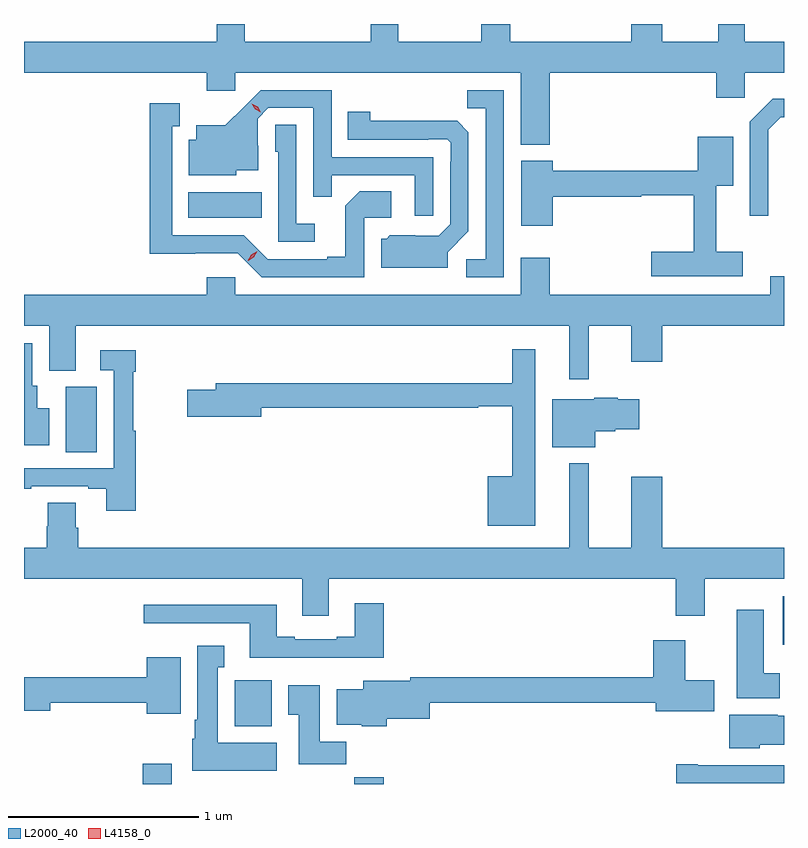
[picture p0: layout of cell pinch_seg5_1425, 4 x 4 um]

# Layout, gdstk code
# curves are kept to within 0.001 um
import gdstk
lib = gdstk.Library(unit=1e-6, precision=1e-09)
def R(c, l, rs):  # rectangles x0, y0, x1, y1
    for r in rs: c.add(gdstk.rectangle(r[:2], r[2:], *l))
def P(c, l, *ps):  # polygons
    for p in ps: c.add(gdstk.Polygon(p, *l))
L2000_40 = (2000, 40)
L4158_0 = (4158, 0)

pinch_seg5_1425 = lib.new_cell('pinch_seg5_1425')
R(pinch_seg5_1425, L2000_40, [(114.485,888.981,114.637,889.087), (115.597,888.981,115.754,889.016), (114.968,889.286,115.165,889.528), (117.854,889.715,117.86,889.969), (114.08,890.728,114.244,891.072), (114.725,891.962,115.112,892.096), (113.86,892.98,114.56,892.981)])
P(pinch_seg5_1425, L2000_40, [(116.627,892.724),(117.503,892.724),(117.503,892.593),(117.654,892.593),(117.654,892.724),(117.86,892.724),(117.86,892.888),(117.654,892.888),(117.654,892.981),(117.515,892.981),(117.515,892.888),(117.22,892.888),(117.22,892.981),(117.056,892.981),(117.056,892.888),(116.42,892.888),(116.42,892.981),(116.267,892.981),(116.267,892.888),(115.831,892.888),(115.831,892.981),(115.684,892.981),(115.684,892.888),(115.021,892.888),(115.021,892.981),(114.874,892.981),(114.874,892.888),(113.86,892.888),(113.86,892.724),(114.821,892.724),(114.821,892.629),(114.972,892.629),(114.972,892.724),(116.474,892.724),(116.474,892.346),(116.627,892.346)],
  [(116.013,892.281),(115.479,892.281),(115.479,892.632),(115.106,892.632),(114.919,892.447),(114.767,892.447),(114.767,892.371),(114.728,892.371),(114.728,892.184),(114.978,892.184),(114.978,892.211),(115.093,892.211),(115.093,892.34),(115.089,892.34),(115.089,892.482),(115.146,892.539),(115.383,892.539),(115.383,892.072),(115.481,892.072),(115.481,892.185),(115.917,892.185),(115.917,891.972),(116.013,891.972)],
  [(116.385,892.632),(116.194,892.632),(116.194,892.537),(116.289,892.537),(116.289,891.744),(116.187,891.744),(116.187,891.648),(116.385,891.648)],
  [(117.777,892.425),(117.843,892.491),(117.86,892.491),(117.86,892.588),(117.802,892.588),(117.681,892.467),(117.681,891.972),(117.777,891.972)],
  [(115.65,891.96),(115.792,891.96),(115.792,892.1),(115.627,892.1),(115.551,892.024),(115.551,891.757),(115.457,891.757),(115.457,891.744),(115.143,891.744),(115.017,891.87),(114.64,891.87),(114.64,892.443),(114.679,892.443),(114.679,892.564),(114.522,892.564),(114.522,891.773),(114.984,891.774),(115.11,891.648),(115.65,891.648)],
  [(116.089,891.78),(116.199,891.89),(116.199,892.412),(116.14,892.471),(115.683,892.472),(115.683,892.519),(115.564,892.519),(115.564,892.371),(115.988,892.371),(115.988,892.374),(116.088,892.374),(116.106,892.356),(116.106,892.256),(116.103,892.256),(116.103,891.927),(116.043,891.867),(115.786,891.868),(115.77,891.852),(115.739,891.852),(115.739,891.698),(116.089,891.698)],
  [(115.39,891.931),(115.293,891.931),(115.293,892.451),(115.182,892.451),(115.182,892.308),(115.197,892.308),(115.197,891.834),(115.39,891.834)],
  [(117.643,891.783),(117.503,891.783),(117.503,892.13),(117.592,892.13),(117.592,892.387),(117.405,892.387),(117.405,892.208),(116.644,892.208),(116.644,892.261),(116.477,892.261),(116.477,891.918),(116.644,891.918),(116.644,892.072),(117.108,892.072),(117.108,892.08),(117.385,892.08),(117.385,891.783),(117.162,891.783),(117.162,891.653),(117.643,891.653)],
  [(116.833,891.392),(117.056,891.392),(117.056,891.204),(117.22,891.204),(117.22,891.392),(117.86,891.392),(117.86,891.654),(117.788,891.654),(117.788,891.556),(116.627,891.556),(116.627,891.751),(116.474,891.751),(116.474,891.556),(114.972,891.556),(114.972,891.649),(114.821,891.649),(114.821,891.556),(113.86,891.556),(113.86,891.392),(113.993,891.392),(113.993,891.157),(114.133,891.157),(114.133,891.392),(116.729,891.392),(116.729,891.111),(116.833,891.111)],
  [(113.992,890.959),(113.929,890.959),(113.929,891.078),(113.904,891.078),(113.904,891.3),(113.86,891.3),(113.86,890.763),(113.992,890.763)],
  [(116.551,891.268),(116.43,891.268),(116.43,891.091),(114.869,891.091),(114.869,891.057),(114.72,891.057),(114.72,890.915),(115.108,890.915),(115.108,890.962),(116.251,890.962),(116.251,890.97),(116.43,890.97),(116.43,890.602),(116.3,890.602),(116.3,890.339),(116.551,890.339)],
  [(114.449,890.841),(114.434,890.841),(114.434,891.152),(114.449,891.152),(114.449,891.265),(114.261,891.265),(114.261,891.159),(114.333,891.159),(114.333,890.643),(113.86,890.643),(113.86,890.535),(113.897,890.535),(113.897,890.547),(114.197,890.547),(114.197,890.535),(114.293,890.535),(114.293,890.418),(114.449,890.418)],
  [(116.866,890.837),(116.973,890.837),(116.973,890.849),(117.097,890.849),(117.097,891.007),(116.984,891.007),(116.984,891.015),(116.862,891.015),(116.862,891.007),(116.639,891.007),(116.639,890.753),(116.866,890.753)],
  [(115.465,890.06),(117.29,890.06),(117.29,889.866),(117.442,889.866),(117.442,890.06),(117.86,890.06),(117.86,890.224),(117.22,890.224),(117.22,890.599),(117.056,890.599),(117.056,890.224),(116.833,890.224),(116.833,890.668),(116.729,890.668),(116.729,890.224),(114.146,890.224),(114.146,890.33),(114.133,890.33),(114.133,890.462),(113.986,890.462),(113.986,890.337),(113.981,890.337),(113.981,890.224),(113.86,890.224),(113.86,890.06),(115.325,890.06),(115.325,889.866),(115.465,889.866)],
  [(115.754,889.933),(115.601,889.933),(115.601,889.756),(115.505,889.756),(115.505,889.743),(115.285,889.743),(115.285,889.756),(115.189,889.756),(115.189,889.924),(114.489,889.924),(114.489,889.827),(115.049,889.827),(115.049,889.646),(115.754,889.646)],
  [(117.838,889.564),(117.754,889.564),(117.754,889.897),(117.611,889.897),(117.611,889.433),(117.838,889.433)],
  [(115.769,889.325),(115.996,889.325),(115.996,889.408),(117.185,889.408),(117.185,889.364),(117.493,889.364),(117.493,889.527),(117.34,889.527),(117.34,889.738),(117.173,889.738),(117.173,889.544),(115.892,889.544),(115.892,889.525),(115.646,889.525),(115.646,889.48),(115.505,889.48),(115.505,889.292),(115.638,889.292),(115.638,889.286),(115.769,889.286)],
  [(115.189,889.198),(114.88,889.198),(114.88,889.595),(114.913,889.595),(114.913,889.708),(114.773,889.708),(114.773,889.318),(114.758,889.318),(114.758,889.218),(114.746,889.218),(114.746,889.052),(115.189,889.052)],
  [(114.685,889.648),(114.506,889.648),(114.506,889.544),(113.86,889.544),(113.86,889.366),(113.998,889.366),(113.998,889.408),(114.506,889.408),(114.506,889.352),(114.685,889.352)],
  [(115.556,889.204),(115.417,889.204),(115.417,889.501),(115.25,889.501),(115.25,889.345),(115.307,889.345),(115.307,889.086),(115.556,889.086)],
  [(117.732,889.187),(117.86,889.187),(117.86,889.341),(117.827,889.341),(117.827,889.345),(117.572,889.345),(117.572,889.169),(117.732,889.169)],
  [(117.86,889.08),(117.406,889.08),(117.406,889.085),(117.294,889.085),(117.294,888.984),(117.86,888.984)])
P(pinch_seg5_1425, L4158_0, [(115.106,892.516),(115.076,892.532),(115.059,892.561),(115.059,892.561),(115.059,892.561),(115.089,892.546),(115.106,892.517),(115.106,892.516)],
  [(115.038,891.734),(115.038,891.735),(115.056,891.767),(115.088,891.785),(115.088,891.785),(115.088,891.785),(115.07,891.753),(115.039,891.734)])

lib.write_gds('pinch_seg5_1425.gds')
